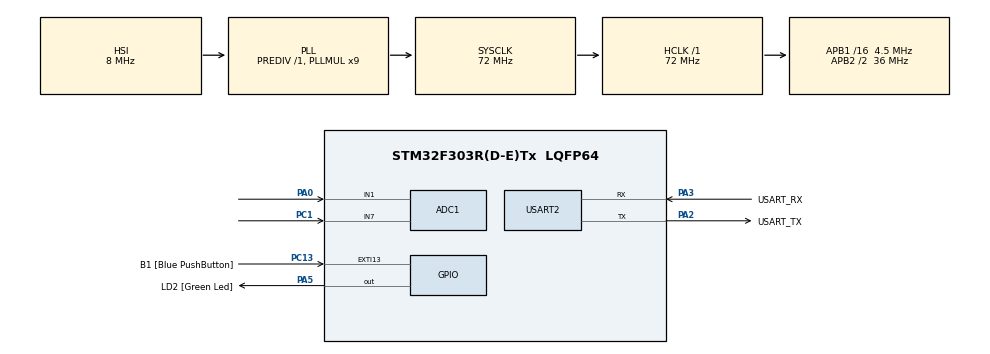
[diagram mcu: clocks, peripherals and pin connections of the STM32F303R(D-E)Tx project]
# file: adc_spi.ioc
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ADC1.Channel-12\#ChannelRegularConversion=ADC_CHANNEL_1
ADC1.Channel-15\#ChannelRegularConversion=ADC_CHANNEL_7
ADC1.Channel-16\#ChannelRegularConversion=ADC_CHANNEL_TEMPSENSOR
ADC1.ClockPrescaler=ADC_CLOCK_ASYNC_DIV1
ADC1.ContinuousConvMode=ENABLE
ADC1.DMAContinuousRequests=DISABLE
ADC1.DiscontinuousConvMode=DISABLE
ADC1.EOCSelection=ADC_EOC_SEQ_CONV
ADC1.EnableRegularConversion=ENABLE
ADC1.Mode=ADC_MODE_INDEPENDENT
ADC1.NbrOfConversion=3
ADC1.NbrOfConversionFlag=1
ADC1.Offset-12\#ChannelRegularConversion=0
ADC1.Offset-15\#ChannelRegularConversion=0
ADC1.Offset-16\#ChannelRegularConversion=0
ADC1.OffsetNumber-12\#ChannelRegularConversion=ADC_OFFSET_NONE
ADC1.OffsetNumber-15\#ChannelRegularConversion=ADC_OFFSET_NONE
ADC1.OffsetNumber-16\#ChannelRegularConversion=ADC_OFFSET_NONE
ADC1.Overrun=ADC_OVR_DATA_OVERWRITTEN
ADC1.Rank-12\#ChannelRegularConversion=1
ADC1.Rank-15\#ChannelRegularConversion=2
ADC1.Rank-16\#ChannelRegularConversion=3
ADC1.SamplingTime-12\#ChannelRegularConversion=ADC_SAMPLETIME_181CYCLES_5
ADC1.SamplingTime-15\#ChannelRegularConversion=ADC_SAMPLETIME_61CYCLES_5
ADC1.SamplingTime-16\#ChannelRegularConversion=ADC_SAMPLETIME_61CYCLES_5
ADC1.SamplingTimeOPAMP-15\#ChannelRegularConversion=ADC_SAMPLETIME_1CYCLE_5
ADC1.SamplingTimeOPAMP-16\#ChannelRegularConversion=ADC_SAMPLETIME_1CYCLE_5
ADC1.SequencerNbRanks=1
ADC1.master=1
Dma.ADC1.0.Direction=DMA_PERIPH_TO_MEMORY
Dma.ADC1.0.Instance=DMA1_Channel1
Dma.ADC1.0.MemDataAlignment=DMA_MDATAALIGN_HALFWORD
Dma.ADC1.0.MemInc=DMA_MINC_ENABLE
Dma.ADC1.0.Mode=DMA_CIRCULAR
Dma.ADC1.0.PeriphDataAlignment=DMA_PDATAALIGN_HALFWORD
Dma.ADC1.0.PeriphInc=DMA_PINC_DISABLE
Dma.ADC1.0.Priority=DMA_PRIORITY_LOW
Dma.Request0=ADC1
Mcu.Family=STM32F3
Mcu.Name=STM32F303R(D-E)Tx
Mcu.Package=LQFP64
NVIC.ADC1_2_IRQn=true\:0\:0\:false\:false\:true\:true\:true
NVIC.DMA1_Channel1_IRQn=true\:0\:0\:false\:false\:true\:false\:true
NVIC.PriorityGroup=NVIC_PRIORITYGROUP_0
NVIC.USART2_IRQn=true\:0\:0\:false\:false\:true\:true\:true
PA0.Mode=IN1-Single-Ended
PA0.Signal=ADC1_IN1
PA13.GPIO_Label=TMS
PA13.Mode=Serial_Wire
PA13.Signal=SYS_JTMS-SWDIO
PA14.GPIO_Label=TCK
PA14.Mode=Serial_Wire
PA14.Signal=SYS_JTCK-SWCLK
PA2.GPIO_Label=USART_TX
PA2.GPIO_Mode=GPIO_MODE_AF_PP
PA2.GPIO_PuPd=GPIO_NOPULL
PA2.GPIO_Speed=GPIO_SPEED_FREQ_LOW
PA2.Mode=Asynchronous
PA2.Signal=USART2_TX
PA3.GPIO_Label=USART_RX
PA3.GPIO_Mode=GPIO_MODE_AF_PP
PA3.GPIO_PuPd=GPIO_NOPULL
PA3.GPIO_Speed=GPIO_SPEED_FREQ_LOW
PA3.Mode=Asynchronous
PA3.Signal=USART2_RX
PA5.GPIO_Label=LD2 [Green Led]
PA5.GPIO_Mode=GPIO_MODE_OUTPUT_PP
PA5.GPIO_PuPd=GPIO_NOPULL
PA5.GPIO_Speed=GPIO_SPEED_FREQ_LOW
PA5.Signal=GPIO_Output
PB3.GPIO_Label=SWO
PB3.Signal=SYS_JTDO-TRACESWO
PC1.Signal=ADCx_IN7
PC13.GPIO_Label=B1 [Blue PushButton]
PC13.GPIO_ModeDefaultEXTI=GPIO_MODE_IT_FALLING
PC13.Signal=GPXTI13
PC14-OSC32_IN.Mode=LSE-External-Oscillator
PC14-OSC32_IN.Signal=RCC_OSC32_IN
PC15-OSC32_OUT.Mode=LSE-External-Oscillator
PC15-OSC32_OUT.Signal=RCC_OSC32_OUT
PF0-OSC_IN.Mode=HSE-External-Clock-Source
PF0-OSC_IN.Signal=RCC_OSC_IN
PF1-OSC_OUT.Signal=RCC_OSC_OUT
ProjectManager.HeapSize=0x200
ProjectManager.StackSize=0x400
ProjectManager.TargetToolchain=STM32CubeIDE
RCC.ADC12PRES=RCC_ADC12PLLCLK_DIV256
RCC.AHBFreq_Value=72000000
RCC.APB1CLKDivider=RCC_HCLK_DIV16
RCC.APB1Freq_Value=4500000
RCC.APB1TimFreq_Value=9000000
RCC.APB2CLKDivider=RCC_HCLK_DIV2
RCC.APB2Freq_Value=36000000
RCC.APB2TimFreq_Value=72000000
RCC.CortexFreq_Value=72000000
RCC.HCLKFreq_Value=72000000
RCC.HSE_VALUE=8000000
RCC.HSI_VALUE=8000000
RCC.PLLM=8
RCC.PLLMUL=RCC_PLL_MUL9
RCC.PLLN=336
RCC.PLLP=RCC_PLLP_DIV4
RCC.PLLQ=7
RCC.RCC_PLLsource_Clock_Source_FROM_HSE=RCC_HSE_PREDIV_DIV2
RCC.SYSCLKFreq_VALUE=72000000
RCC.SYSCLKSourceVirtual=RCC_SYSCLKSOURCE_PLLCLK
RCC.USBFreq_Value=72000000
SH.ADCx_IN7.0=ADC1_IN7,IN7-Single-Ended
USART2.VirtualMode-Asynchronous=VM_ASYNC
VP_ADC1_TempSens_Input.Mode=IN-TempSens
board=NUCLEO-F303RE

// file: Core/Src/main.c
/* USER CODE BEGIN Header */
/**
  ******************************************************************************
  * @file           : main.c
  * @brief          : Main program body
  ******************************************************************************
  * @attention
  *
  * Copyright (c) 2022 STMicroelectronics.
  * All rights reserved.
  *
  * This software is licensed under terms that can be found in the LICENSE file
  * in the root directory of this software component.
  * If no LICENSE file comes with this software, it is provided AS-IS.
  *
  ******************************************************************************
  */
/* USER CODE END Header */
#include "main.h"

ADC_HandleTypeDef hadc1;
DMA_HandleTypeDef hdma_adc1;

UART_HandleTypeDef huart2;

/* USER CODE BEGIN PV */
uint16_t data[5];
uint8_t Index;
uint16_t Vol1, Vol2;
float temp1, temp2;
volatile uint16_t control=0;
volatile uint16_t intdata[5];
/* USER CODE END PV */

void SystemClock_Config(void);
static void MX_GPIO_Init(void);
static void MX_USART2_UART_Init(void);
static void MX_DMA_Init(void);
static void MX_ADC1_Init(void);

int main(void)
{

  /* MCU Configuration--------------------------------------------------------*/

  /* Reset of all peripherals, Initializes the Flash interface and the Systick. */
  HAL_Init();

  /* Configure the system clock */
  SystemClock_Config();

  /* Initialize all configured peripherals */
  MX_GPIO_Init();
  MX_USART2_UART_Init();
  MX_DMA_Init();
  MX_ADC1_Init();
  /* USER CODE BEGIN 2 */
  uint16_t a_res=0;
  char msg[80];
  HAL_ADC_Start_IT(&hadc1);
  HAL_Delay(1000);
  /* USER CODE END 2 */

  /* Infinite loop */
  /* USER CODE BEGIN WHILE */
  while (1)
  {
	  a_res++;
	  HAL_GPIO_TogglePin(LD2_GPIO_Port, LD2_Pin);
    /* USER CODE END WHILE */

    /* USER CODE BEGIN 3 */
	  HAL_Delay(500);

	  if (a_res == 20)
	  {
	  HAL_ADC_Stop_DMA(&hadc1);
	  }
	  sprintf(msg, "contador:%hu %hu\r\n", a_res, control);
	  HAL_UART_Transmit(&huart2, msg, 19, 10);
  }
  /* USER CODE END 3 */
}

void SystemClock_Config(void)
{
  RCC_OscInitTypeDef RCC_OscInitStruct = {0};
  RCC_ClkInitTypeDef RCC_ClkInitStruct = {0};
  RCC_PeriphCLKInitTypeDef PeriphClkInit = {0};

  /** Initializes the RCC Oscillators according to the specified parameters
  * in the RCC_OscInitTypeDef structure.
  */
  RCC_OscInitStruct.OscillatorType = RCC_OSCILLATORTYPE_HSI;
  RCC_OscInitStruct.HSIState = RCC_HSI_ON;
  RCC_OscInitStruct.HSICalibrationValue = RCC_HSICALIBRATION_DEFAULT;
  RCC_OscInitStruct.PLL.PLLState = RCC_PLL_ON;
  RCC_OscInitStruct.PLL.PLLSource = RCC_PLLSOURCE_HSI;
  RCC_OscInitStruct.PLL.PLLMUL = RCC_PLL_MUL9;
  RCC_OscInitStruct.PLL.PREDIV = RCC_PREDIV_DIV1;
  if (HAL_RCC_OscConfig(&RCC_OscInitStruct) != HAL_OK)
  {
    Error_Handler();
  }
  /** Initializes the CPU, AHB and APB buses clocks
  */
  RCC_ClkInitStruct.ClockType = RCC_CLOCKTYPE_HCLK|RCC_CLOCKTYPE_SYSCLK
                              |RCC_CLOCKTYPE_PCLK1|RCC_CLOCKTYPE_PCLK2;
  RCC_ClkInitStruct.SYSCLKSource = RCC_SYSCLKSOURCE_PLLCLK;
  RCC_ClkInitStruct.AHBCLKDivider = RCC_SYSCLK_DIV1;
  RCC_ClkInitStruct.APB1CLKDivider = RCC_HCLK_DIV16;
  RCC_ClkInitStruct.APB2CLKDivider = RCC_HCLK_DIV2;

  if (HAL_RCC_ClockConfig(&RCC_ClkInitStruct, FLASH_LATENCY_2) != HAL_OK)
  {
    Error_Handler();
  }
  PeriphClkInit.PeriphClockSelection = RCC_PERIPHCLK_USART2|RCC_PERIPHCLK_ADC12;
  PeriphClkInit.Usart2ClockSelection = RCC_USART2CLKSOURCE_PCLK1;
  PeriphClkInit.Adc12ClockSelection = RCC_ADC12PLLCLK_DIV256;
  if (HAL_RCCEx_PeriphCLKConfig(&PeriphClkInit) != HAL_OK)
  {
    Error_Handler();
  }
}

static void MX_ADC1_Init(void)
{

  ADC_MultiModeTypeDef multimode = {0};
  ADC_ChannelConfTypeDef sConfig = {0};

  /** Common config
  */
  hadc1.Instance = ADC1;
  hadc1.Init.ClockPrescaler = ADC_CLOCK_ASYNC_DIV1;
  hadc1.Init.Resolution = ADC_RESOLUTION_12B;
  hadc1.Init.ScanConvMode = ADC_SCAN_ENABLE;
  hadc1.Init.ContinuousConvMode = ENABLE;
  hadc1.Init.DiscontinuousConvMode = DISABLE;
  hadc1.Init.ExternalTrigConvEdge = ADC_EXTERNALTRIGCONVEDGE_NONE;
  hadc1.Init.ExternalTrigConv = ADC_SOFTWARE_START;
  hadc1.Init.DataAlign = ADC_DATAALIGN_RIGHT;
  hadc1.Init.NbrOfConversion = 3;
  hadc1.Init.DMAContinuousRequests = DISABLE;
  hadc1.Init.EOCSelection = ADC_EOC_SEQ_CONV;
  hadc1.Init.LowPowerAutoWait = DISABLE;
  hadc1.Init.Overrun = ADC_OVR_DATA_OVERWRITTEN;
  if (HAL_ADC_Init(&hadc1) != HAL_OK)
  {
    Error_Handler();
  }
  /** Configure the ADC multi-mode
  */
  multimode.Mode = ADC_MODE_INDEPENDENT;
  if (HAL_ADCEx_MultiModeConfigChannel(&hadc1, &multimode) != HAL_OK)
  {
    Error_Handler();
  }
  /** Configure Regular Channel
  */
  sConfig.Channel = ADC_CHANNEL_1;
  sConfig.Rank = ADC_REGULAR_RANK_1;
  sConfig.SingleDiff = ADC_SINGLE_ENDED;
  sConfig.SamplingTime = ADC_SAMPLETIME_181CYCLES_5;
  sConfig.OffsetNumber = ADC_OFFSET_NONE;
  sConfig.Offset = 0;
  if (HAL_ADC_ConfigChannel(&hadc1, &sConfig) != HAL_OK)
  {
    Error_Handler();
  }
  /** Configure Regular Channel
  */
  sConfig.Channel = ADC_CHANNEL_7;
  sConfig.Rank = ADC_REGULAR_RANK_2;
  sConfig.SamplingTime = ADC_SAMPLETIME_61CYCLES_5;
  if (HAL_ADC_ConfigChannel(&hadc1, &sConfig) != HAL_OK)
  {
    Error_Handler();
  }
  /** Configure Regular Channel
  */
  sConfig.Channel = ADC_CHANNEL_TEMPSENSOR;
  sConfig.Rank = ADC_REGULAR_RANK_3;
  if (HAL_ADC_ConfigChannel(&hadc1, &sConfig) != HAL_OK)
  {
    Error_Handler();
  }

}

static void MX_USART2_UART_Init(void)
{

  huart2.Instance = USART2;
  huart2.Init.BaudRate = 38400;
  huart2.Init.WordLength = UART_WORDLENGTH_8B;
  huart2.Init.StopBits = UART_STOPBITS_1;
  huart2.Init.Parity = UART_PARITY_NONE;
  huart2.Init.Mode = UART_MODE_TX_RX;
  huart2.Init.HwFlowCtl = UART_HWCONTROL_NONE;
  huart2.Init.OverSampling = UART_OVERSAMPLING_16;
  huart2.Init.OneBitSampling = UART_ONE_BIT_SAMPLE_DISABLE;
  huart2.AdvancedInit.AdvFeatureInit = UART_ADVFEATURE_NO_INIT;
  if (HAL_UART_Init(&huart2) != HAL_OK)
  {
    Error_Handler();
  }

}

static void MX_DMA_Init(void)
{

  /* DMA controller clock enable */
  __HAL_RCC_DMA1_CLK_ENABLE();

  /* DMA interrupt init */
  /* DMA1_Channel1_IRQn interrupt configuration */
  HAL_NVIC_SetPriority(DMA1_Channel1_IRQn, 0, 0);
  HAL_NVIC_EnableIRQ(DMA1_Channel1_IRQn);

}

static void MX_GPIO_Init(void)
{
  GPIO_InitTypeDef GPIO_InitStruct = {0};

  /* GPIO Ports Clock Enable */
  __HAL_RCC_GPIOC_CLK_ENABLE();
  __HAL_RCC_GPIOF_CLK_ENABLE();
  __HAL_RCC_GPIOA_CLK_ENABLE();
  __HAL_RCC_GPIOB_CLK_ENABLE();

  /*Configure GPIO pin Output Level */
  HAL_GPIO_WritePin(LD2_GPIO_Port, LD2_Pin, GPIO_PIN_RESET);

  /*Configure GPIO pin : B1_Pin */
  GPIO_InitStruct.Pin = B1_Pin;
  GPIO_InitStruct.Mode = GPIO_MODE_IT_FALLING;
  GPIO_InitStruct.Pull = GPIO_NOPULL;
  HAL_GPIO_Init(B1_GPIO_Port, &GPIO_InitStruct);

  /*Configure GPIO pin : LD2_Pin */
  GPIO_InitStruct.Pin = LD2_Pin;
  GPIO_InitStruct.Mode = GPIO_MODE_OUTPUT_PP;
  GPIO_InitStruct.Pull = GPIO_NOPULL;
  GPIO_InitStruct.Speed = GPIO_SPEED_FREQ_LOW;
  HAL_GPIO_Init(LD2_GPIO_Port, &GPIO_InitStruct);

}

/* USER CODE BEGIN 4 */
void HAL_ADC_ConvCpltCallback(ADC_HandleTypeDef* hadc)
{
  /* Prevent unused argument(s) compilation warning */
	//HAL_GPIO_TogglePin(LD2_GPIO_Port, LD2_Pin);
	control++;
	if (control >= 36000)
		control=0;
}

/**
  * @brief  Conversion DMA half-transfer callback in non blocking mode
  * @param  hadc ADC handle
  * @retval None
  */
void HAL_ADC_ConvHalfCpltCallback(ADC_HandleTypeDef* hadc)
{
  /* Prevent unused argument(s) compilation warning */
	//HAL_GPIO_TogglePin(LD2_GPIO_Port, LD2_Pin);

}
/* USER CODE END 4 */

void Error_Handler(void)
{
  __disable_irq();
  while (1)
  {
  }
}
